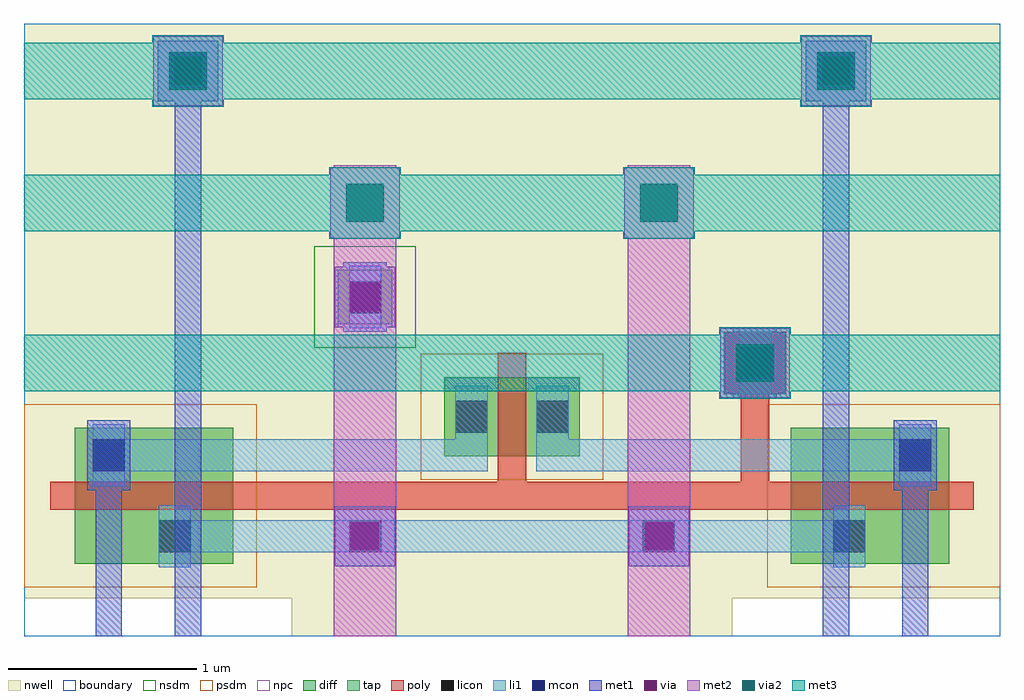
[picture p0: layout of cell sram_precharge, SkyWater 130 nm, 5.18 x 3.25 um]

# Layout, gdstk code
import gdstk
lib = gdstk.Library(unit=1e-6, precision=1e-09)
def R(c, l, rs):  # rectangles x0, y0, x1, y1
    for r in rs: c.add(gdstk.rectangle(r[:2], r[2:], *l))
nwell = (64, 20)
diff = (65, 20)
tap = (65, 44)
poly = (66, 20)
licon = (66, 44)
li1 = (67, 20)
mcon = (67, 44)
met1 = (68, 20)
via = (68, 44)
met2 = (69, 20)
via2 = (69, 44)
met3 = (70, 20)
nsdm = (93, 44)
psdm = (94, 20)
npc = (95, 20)
boundary = (235, 4)

sram_precharge = lib.new_cell('sram_precharge')
R(sram_precharge, nwell, [(1.42,0,3.76,0.3), (0,0.2,5.18,3.25)])
R(sram_precharge, diff, [(0.27,0.385,1.11,1.105), (4.07,0.385,4.91,1.105), (2.23,0.955,2.95,1.375)])
R(sram_precharge, tap, [(1.665,1.655,1.955,1.945)])
R(sram_precharge, poly, [(0.14,0.67,5.04,0.82), (2.515,0.67,2.665,1.505), (3.805,0.67,3.955,1.45), (3.715,1.285,4.045,1.615)])
R(sram_precharge, licon, [(0.715,0.445,0.885,0.615), (4.295,0.445,4.465,0.615), (0.365,0.875,0.535,1.045), (4.645,0.875,4.815,1.045), (2.29,1.08,2.46,1.25), (2.72,1.08,2.89,1.25), (3.795,1.365,3.965,1.535), (1.725,1.715,1.895,1.885)])
R(sram_precharge, li1, [(0.715,0.365,0.885,0.695), (4.295,0.365,4.465,0.695), (0.715,0.445,4.465,0.615), (0.365,0.795,0.535,1.125), (4.645,0.795,4.815,1.125), (0.365,0.875,2.46,1.045), (2.72,0.875,4.815,1.045), (2.29,0.96,2.46,1.165), (2.72,0.96,2.89,1.165), (2.29,1,2.46,1.33), (2.72,1,2.89,1.33), (3.795,1.285,3.965,1.615), (1.725,1.635,1.895,1.965)])
R(sram_precharge, mcon, [(1.725,0.445,1.895,0.615), (3.285,0.445,3.455,0.615), (0.365,0.875,0.535,1.045), (4.645,0.875,4.815,1.045), (3.795,1.365,3.965,1.535), (1.725,1.715,1.895,1.885)])
R(sram_precharge, met1, [(0.38,0,0.52,0.96), (0.8,0,0.94,3), (4.24,0,4.38,3), (4.66,0,4.8,0.96), (1.65,0.37,1.97,0.69), (3.21,0.37,3.53,0.69), (0.335,0.775,0.565,1.145), (4.615,0.775,4.845,1.145), (3.765,1.265,3.995,1.635), (3.72,1.29,4.04,1.61), (1.695,1.615,1.925,1.985), (1.65,1.64,1.97,1.96), (0.71,2.84,1.03,3.16), (4.15,2.84,4.47,3.16)])
R(sram_precharge, via, [(1.735,0.455,1.885,0.605), (3.295,0.455,3.445,0.605), (3.805,1.375,3.955,1.525), (1.735,1.725,1.885,1.875), (0.795,2.925,0.945,3.075), (4.235,2.925,4.385,3.075)])
R(sram_precharge, met2, [(1.645,0,1.975,2.5), (3.205,0,3.535,2.5), (1.65,0.37,1.97,0.69), (3.21,0.37,3.53,0.69), (3.695,1.265,4.065,1.635), (3.72,1.29,4.04,1.61), (1.65,1.64,1.97,1.96), (1.625,2.115,1.995,2.485), (3.185,2.115,3.555,2.485), (0.685,2.815,1.055,3.185), (4.125,2.815,4.495,3.185), (0.71,2.84,1.03,3.16), (4.15,2.84,4.47,3.16)])
R(sram_precharge, via2, [(3.78,1.35,3.98,1.55), (1.71,2.2,1.91,2.4), (3.27,2.2,3.47,2.4), (0.77,2.9,0.97,3.1), (4.21,2.9,4.41,3.1)])
R(sram_precharge, met3, [(3.69,1.26,4.07,1.64), (0,1.3,5.18,1.6), (1.62,2.11,2,2.49), (3.18,2.11,3.56,2.49), (0,2.15,5.18,2.45), (0.68,2.81,1.06,3.19), (4.12,2.81,4.5,3.19), (0,2.85,5.18,3.15)])
R(sram_precharge, nsdm, [(1.54,1.53,2.08,2.07)])
R(sram_precharge, psdm, [(0,0.26,1.235,1.23), (3.945,0.26,5.18,1.23), (2.105,0.83,3.075,1.5)])
R(sram_precharge, npc, [(3.695,1.265,4.065,1.635)])
R(sram_precharge, boundary, [(0,0,5.18,3.25)])

lib.write_gds('sram_precharge.gds')
